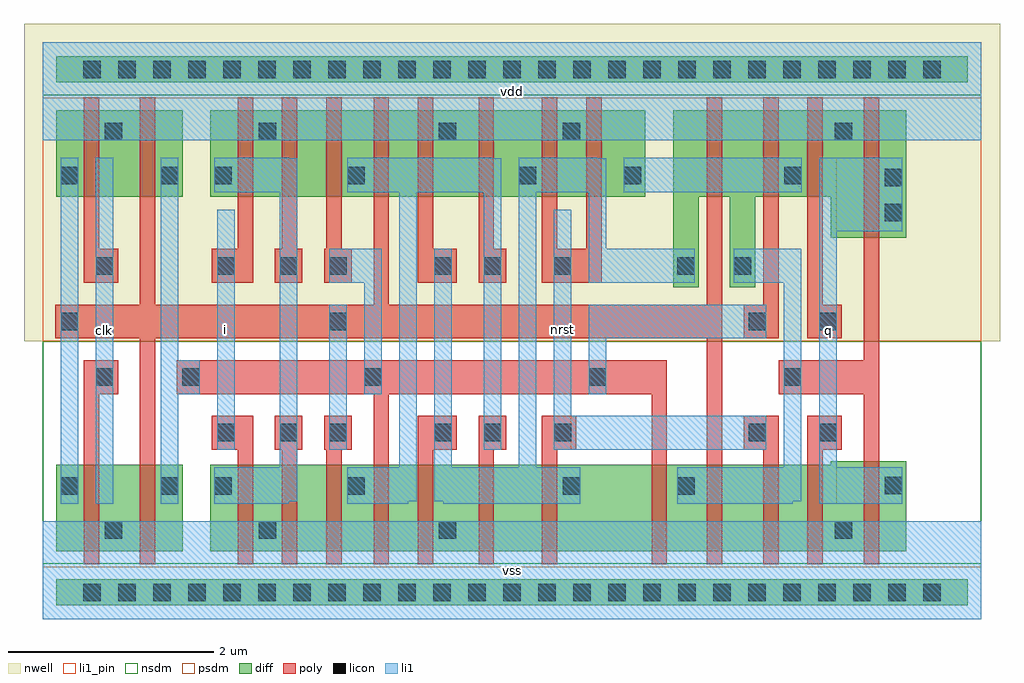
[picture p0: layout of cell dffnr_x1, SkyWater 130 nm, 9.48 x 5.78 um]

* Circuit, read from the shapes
.subckt dffnr_x1 clk i nrst q vdd vss
XM1 vss clk n1 VSUBS sky130_fd_pr__nfet_01v8 w=0.84 l=0.15
XM2 n2 n1 vss VSUBS sky130_fd_pr__nfet_01v8 w=0.84 l=0.15
XM3 vss i n3 VSUBS sky130_fd_pr__nfet_01v8 w=0.84 l=0.15
XM4 n4 n3 vss VSUBS sky130_fd_pr__nfet_01v8 w=0.84 l=0.15
XM5 n5 n1 n4 VSUBS sky130_fd_pr__nfet_01v8 w=0.84 l=0.15
XM6 n6 n2 n5 VSUBS sky130_fd_pr__nfet_01v8 w=0.84 l=0.15
XM7 vss n7 n6 VSUBS sky130_fd_pr__nfet_01v8 w=0.84 l=0.15
XM8 n8 n5 vss VSUBS sky130_fd_pr__nfet_01v8 w=0.84 l=0.15
XM9 n7 nrst n8 VSUBS sky130_fd_pr__nfet_01v8 w=0.84 l=0.15
XM10 n9 n2 n7 VSUBS sky130_fd_pr__nfet_01v8 w=0.84 l=0.15
XM11 n10 n1 n9 VSUBS sky130_fd_pr__nfet_01v8 w=0.84 l=0.15
XM12 n11 nrst n10 VSUBS sky130_fd_pr__nfet_01v8 w=0.84 l=0.15
XM13 vss q n11 VSUBS sky130_fd_pr__nfet_01v8 w=0.84 l=0.15
XM14 q n9 vss VSUBS sky130_fd_pr__nfet_01v8 w=0.875 l=0.15
XM15 vdd clk n1 n12 sky130_fd_pr__pfet_01v8 w=0.84 l=0.15
XM16 n2 n1 vdd n12 sky130_fd_pr__pfet_01v8 w=0.84 l=0.15
XM17 vdd i n3 n12 sky130_fd_pr__pfet_01v8 w=0.84 l=0.15
XM18 n13 n3 vdd n12 sky130_fd_pr__pfet_01v8 w=0.84 l=0.15
XM19 n5 n2 n13 n12 sky130_fd_pr__pfet_01v8 w=0.84 l=0.15
XM20 n14 n1 n5 n12 sky130_fd_pr__pfet_01v8 w=0.84 l=0.15
XM21 vdd n7 n14 n12 sky130_fd_pr__pfet_01v8 w=0.84 l=0.15
XM22 n7 n5 vdd n12 sky130_fd_pr__pfet_01v8 w=0.84 l=0.15
XM23 vdd nrst n7 n12 sky130_fd_pr__pfet_01v8 w=0.84 l=0.15
XM24 n15 nrst vdd n12 sky130_fd_pr__pfet_01v8 w=0.84 l=0.15
XM25 n9 n1 n7 n12 sky130_fd_pr__pfet_01v8 w=0.84 l=0.15
XM26 n15 n2 n9 n12 sky130_fd_pr__pfet_01v8 w=0.84 l=0.15
XM27 vdd q n15 n12 sky130_fd_pr__pfet_01v8 w=0.84 l=0.15
XM28 q n9 vdd n12 sky130_fd_pr__pfet_01v8 w=1.235 l=0.15
.ends

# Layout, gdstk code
import gdstk
lib = gdstk.Library(unit=1e-6, precision=1e-09)
def R(c, l, rs):  # rectangles x0, y0, x1, y1
    for r in rs: c.add(gdstk.rectangle(r[:2], r[2:], *l))
def A(c, l, x, y, w, h, nx, ny, dx, dy):  # array of equal rectangles
    R(c, l, [(x+i*dx, y+j*dy, x+i*dx+w, y+j*dy+h) for i in range(nx) for j in range(ny)])
def P(c, l, *ps):  # polygons
    for p in ps: c.add(gdstk.Polygon(p, *l))
nwell = (64, 20)
diff = (65, 20)
poly = (66, 20)
licon = (66, 44)
li1_pin = (67, 16)
li1 = (67, 20)
nsdm = (93, 44)
psdm = (94, 20)

dffnr_x1 = lib.new_cell('dffnr_x1')
R(dffnr_x1, nwell, [(-0.18,2.7,9.3,5.78)])
R(dffnr_x1, diff, [(0.135,0.135,8.985,0.385), (0.135,0.66,1.36,1.5), (0.135,4.1,1.36,4.94), (1.63,4.1,5.855,4.94), (0.135,5.215,8.985,5.465)])
P(dffnr_x1, diff, [(6.125,3.225),(6.125,4.94),(8.39,4.94),(8.39,3.705),(7.655,3.705),(7.655,4.1),(6.925,4.1),(6.925,3.225),(6.675,3.225),(6.675,4.1),(6.375,4.1),(6.375,3.225)],
  [(1.63,0.66),(1.63,1.5),(7.655,1.5),(7.655,1.535),(8.39,1.535),(8.39,0.66)])
P(dffnr_x1, poly, [(2.755,0.53),(2.755,1.645),(2.735,1.645),(2.735,1.975),(3.005,1.975),(3.005,1.645),(2.905,1.645),(2.905,0.53)],
  [(0.945,0.53),(0.945,2.725),(0.125,2.725),(0.125,3.055),(0.945,3.055),(0.945,5.07),(1.095,5.07),(1.095,3.055),(3.215,3.055),(3.215,5.07),(3.365,5.07),(3.365,3.055),(6.45,3.055),(6.45,5.07),(6.6,5.07),(6.6,0.53),(6.45,0.53),(6.45,2.725),(1.095,2.725),(1.095,0.53)],
  [(0.4,3.265),(0.4,5.07),(0.55,5.07),(0.55,3.595),(0.735,3.595),(0.735,3.265)],
  [(0.4,0.53),(0.4,2.515),(0.735,2.515),(0.735,2.185),(0.55,2.185),(0.55,0.53)],
  [(3.215,0.53),(3.215,2.185),(1.305,2.185),(1.305,2.515),(6.065,2.515),(6.065,0.53),(5.915,0.53),(5.915,2.185),(3.365,2.185),(3.365,0.53)],
  [(6.81,2.725),(6.81,3.055),(7,3.055),(7,5.07),(7.15,5.07),(7.15,2.725)],
  [(2.735,3.265),(2.735,3.595),(2.755,3.595),(2.755,5.07),(2.905,5.07),(2.905,3.595),(3.005,3.595),(3.005,3.265)],
  [(2.325,0.53),(2.325,1.645),(2.255,1.645),(2.255,1.975),(2.525,1.975),(2.525,1.645),(2.475,1.645),(2.475,0.53)],
  [(2.255,3.265),(2.255,3.595),(2.325,3.595),(2.325,5.07),(2.475,5.07),(2.475,3.595),(2.525,3.595),(2.525,3.265)],
  [(1.895,0.53),(1.895,1.645),(1.645,1.645),(1.645,1.975),(2.045,1.975),(2.045,0.53)],
  [(1.645,3.265),(1.645,3.595),(1.895,3.595),(1.895,5.07),(2.045,5.07),(2.045,3.265)],
  [(4.235,3.265),(4.235,5.07),(4.385,5.07),(4.385,3.595),(4.505,3.595),(4.505,3.265)],
  [(4.235,0.53),(4.235,1.975),(4.505,1.975),(4.505,1.645),(4.385,1.645),(4.385,0.53)],
  [(3.645,3.265),(3.645,5.07),(3.795,5.07),(3.795,3.595),(4.025,3.595),(4.025,3.265)],
  [(3.645,0.53),(3.645,1.975),(4.025,1.975),(4.025,1.645),(3.795,1.645),(3.795,0.53)],
  [(4.85,0.53),(4.85,1.975),(5.185,1.975),(5.185,1.645),(5,1.645),(5,0.53)],
  [(7,0.53),(7,1.645),(6.81,1.645),(6.81,1.975),(7.15,1.975),(7.15,0.53)],
  [(4.85,3.265),(4.85,5.07),(5,5.07),(5,3.595),(5.28,3.595),(5.28,5.07),(5.43,5.07),(5.43,3.265)],
  [(7.975,0.53),(7.975,2.185),(7.15,2.185),(7.15,2.515),(7.975,2.515),(7.975,5.07),(8.125,5.07),(8.125,0.53)],
  [(7.43,0.53),(7.43,1.975),(7.765,1.975),(7.765,1.645),(7.58,1.645),(7.58,0.53)],
  [(7.43,2.725),(7.43,5.07),(7.58,5.07),(7.58,3.055),(7.765,3.055),(7.765,2.725)])
A(dffnr_x1, licon, 0.395, 0.175, 0.17, 0.17, 25, 2, 0.34, 5.08)
R(dffnr_x1, licon, [(0.605,0.78,0.775,0.95), (2.1,0.78,2.27,0.95), (3.85,0.78,4.02,0.95), (7.695,0.78,7.865,0.95), (0.175,1.205,0.345,1.375), (1.15,1.205,1.32,1.375), (1.67,1.205,1.84,1.375), (2.96,1.205,3.13,1.375), (5.055,1.205,5.225,1.375), (6.165,1.205,6.335,1.375), (8.18,1.21,8.35,1.38), (1.695,1.725,1.865,1.895), (2.305,1.725,2.475,1.895), (2.785,1.725,2.955,1.895), (3.805,1.725,3.975,1.895), (4.285,1.725,4.455,1.895), (4.965,1.725,5.135,1.895), (6.86,1.725,7.03,1.895), (7.545,1.725,7.715,1.895), (0.515,2.265,0.685,2.435), (1.355,2.265,1.525,2.435), (3.125,2.265,3.295,2.435), (5.305,2.265,5.475,2.435), (7.2,2.265,7.37,2.435), (0.175,2.805,0.345,2.975), (2.785,2.805,2.955,2.975), (6.86,2.805,7.03,2.975), (7.545,2.805,7.715,2.975), (0.515,3.345,0.685,3.515), (1.695,3.345,1.865,3.515), (2.305,3.345,2.475,3.515), (2.785,3.345,2.955,3.515), (3.805,3.345,3.975,3.515), (4.285,3.345,4.455,3.515), (4.965,3.345,5.135,3.515), (6.165,3.345,6.335,3.515), (6.715,3.345,6.885,3.515), (8.18,3.865,8.35,4.035), (8.18,4.205,8.35,4.375), (0.175,4.225,0.345,4.395), (1.15,4.225,1.32,4.395), (1.67,4.225,1.84,4.395), (2.96,4.225,3.13,4.395), (4.625,4.225,4.795,4.395), (5.645,4.225,5.815,4.395), (7.205,4.225,7.375,4.395), (0.605,4.65,0.775,4.82), (2.1,4.65,2.27,4.82), (3.85,4.65,4.02,4.82), (5.055,4.65,5.225,4.82), (7.695,4.65,7.865,4.82)])
R(dffnr_x1, li1_pin, [(0,0,9.12,0.95), (0.515,1.12,0.685,4.48), (7.545,1.12,7.715,4.48), (1.695,1.645,1.865,3.975), (4.965,1.645,5.135,3.975), (0,4.65,9.12,5.6)])
R(dffnr_x1, li1, [(0,0,9.12,0.95), (0.175,1.12,0.345,4.48), (0.515,1.12,0.685,4.48), (1.695,1.645,1.865,3.975), (2.785,1.645,2.955,3.055), (5.645,4.145,7.375,4.48), (0,4.65,9.12,5.6)])
P(dffnr_x1, li1, [(5.305,2.185),(5.305,3.055),(7.03,3.055),(7.03,2.725),(5.475,2.725),(5.475,2.185)],
  [(1.15,1.12),(1.15,4.48),(1.32,4.48),(1.32,2.515),(1.525,2.515),(1.525,2.185),(1.32,2.185),(1.32,1.12)],
  [(3.125,2.185),(3.125,3.265),(2.785,3.265),(2.785,3.595),(3.295,3.595),(3.295,2.185)],
  [(1.67,1.12),(1.67,1.475),(2.305,1.475),(2.305,4.145),(1.67,4.145),(1.67,4.48),(2.39,4.48),(2.39,4.475),(2.475,4.475),(2.475,1.145),(2.39,1.145),(2.39,1.12)],
  [(2.96,1.12),(2.96,1.475),(3.465,1.475),(3.465,4.145),(2.96,4.145),(2.96,4.48),(4.37,4.48),(4.37,4.475),(4.455,4.475),(4.455,1.645),(4.285,1.645),(4.285,4.145),(3.635,4.145),(3.635,1.145),(3.55,1.145),(3.55,1.12)],
  [(3.89,1.12),(3.89,1.145),(3.805,1.145),(3.805,3.595),(3.975,3.595),(3.975,1.475),(4.625,1.475),(4.625,4.48),(5.39,4.48),(5.39,4.475),(5.475,4.475),(5.475,3.595),(6.335,3.595),(6.335,3.265),(5.305,3.265),(5.305,4.145),(4.795,4.145),(4.795,1.475),(5.225,1.475),(5.225,1.12)],
  [(4.965,1.645),(4.965,3.975),(5.135,3.975),(5.135,1.975),(7.03,1.975),(7.03,1.645)],
  [(6.165,1.12),(6.165,1.475),(7.2,1.475),(7.2,3.265),(6.715,3.265),(6.715,3.595),(7.37,3.595),(7.37,1.145),(7.285,1.145),(7.285,1.12)],
  [(7.545,1.12),(7.545,4.48),(8.35,4.48),(8.35,3.765),(7.715,3.765),(7.715,1.475),(8.35,1.475),(8.35,1.12)])
R(dffnr_x1, nsdm, [(0,0.535,9.12,2.7), (0,5.09,9.12,5.6)])
R(dffnr_x1, psdm, [(0,0,9.12,0.51), (0,2.7,9.12,5.065)])
dffnr_x1.add(gdstk.Label('vdd', (4.56,5.125), layer=67, texttype=16))
dffnr_x1.add(gdstk.Label('vss', (4.56,0.475), layer=67, texttype=16))
dffnr_x1.add(gdstk.Label('clk', (0.6,2.8), layer=67, texttype=16))
dffnr_x1.add(gdstk.Label('i', (1.78,2.81), layer=67, texttype=16))
dffnr_x1.add(gdstk.Label('nrst', (5.05,2.81), layer=67, texttype=16))
dffnr_x1.add(gdstk.Label('q', (7.63,2.8), layer=67, texttype=16))

lib.write_gds('dffnr_x1.gds')
